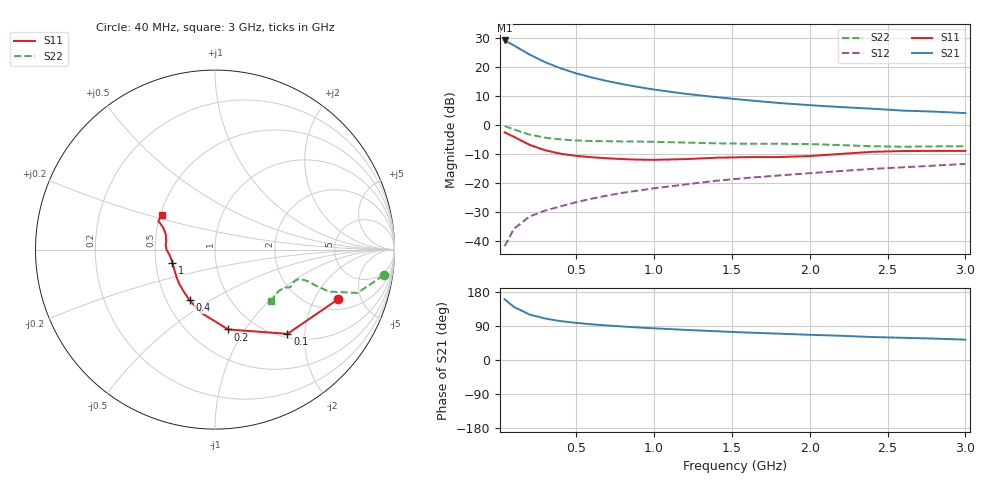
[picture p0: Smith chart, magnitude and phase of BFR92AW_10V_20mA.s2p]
! Filename:  BFR92AWJ.S2P  Version:  4.0
! Philips part #: BFR92AW  Date: Jun 1994
! Bias condition: Vce=10V, Ic=20mA
#  MHz  S  MA  R  50
! Freq  S11  S21  S12  S22  !GUM [dB]
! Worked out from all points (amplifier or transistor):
!   21 points, 40 MHz to 3 GHz, reference 50 ohm
!   highest |S21| = 29.1 dB at 40 MHz (marker M1)
!   |S21| within 3 dB of that: start of sweep to 140.7 MHz
!   unconditionally stable (mu >= 1): 519.7 MHz to end of sweep
!   at 300 MHz: K = 0.81, MSG = 25.6 dB, |S12| = -29.6 dB
!   at 1 GHz: K = 1.12, MAG = 15.0 dB, |S12| = -21.9 dB
!   at 3 GHz: K = 1.10, MAG = 6.9 dB, |S12| = -13.5 dB
!   S11 on the Smith chart (normalised r, x): 40 MHz: 2.59, -3.17; 100 MHz: 1.07, -1.63; 200 MHz: 0.75, -0.84; 400 MHz: 0.65, -0.41; 1 GHz: 0.61, -0.09; 3 GHz: 0.51, +0.23
40  0.74 -21.9  28.61 160.4  0.008 78.7  0.95 -8.7
100  0.619 -49.3  23.46 140.0  0.016 69.0  0.83 -16.9
200  0.451 -80.6  16.35 120.0  0.026 63.4  0.677 -20.2
300  0.363 -101.3  12.06 109.4  0.033 63.6  0.6 -19.7
400  0.316 -116.6  9.447 102.6  0.039 65.5  0.559 -19.0
500  0.29 -127.5  7.735 97.9  0.046 67.0  0.536 -18.8
600  0.275 -136.8  6.559 94.2  0.053 69.0  0.524 -18.9
700  0.264 -144.1  5.686 91.1  0.06 70.3  0.518 -19.0
800  0.255 -151.0  5.019 88.4  0.067 71.4  0.516 -19.0
900  0.25 -157.3  4.489 85.8  0.073 72.0  0.513 -19.0
1000  0.248 -163.1  4.06 83.6  0.08 72.5  0.508 -19.0
1200  0.255 -173.3  3.431 79.5  0.093 73.4  0.493 -19.5
1400  0.27 -179.8  3.002 75.9  0.108 74.1  0.478 -21.3
1600  0.276 175.2  2.657 72.4  0.121 74.2  0.471 -24.2
1800  0.277 169.6  2.383 69.6  0.133 74.9  0.47 -26.0
2000  0.288 162.4  2.18 66.5  0.146 75.2  0.464 -27.0
2200  0.314 156.9  2.022 64.0  0.159 75.4  0.446 -28.4
2400  0.341 154.2  1.896 60.6  0.173 75.6  0.426 -32.0
2600  0.352 153.7  1.756 58.6  0.184 75.4  0.418 -36.8
2800  0.354 151.3  1.686 56.5  0.197 76.1  0.423 -40.3
3000  0.354 146.8  1.593 53.7  0.211 76.3  0.426 -42.4
